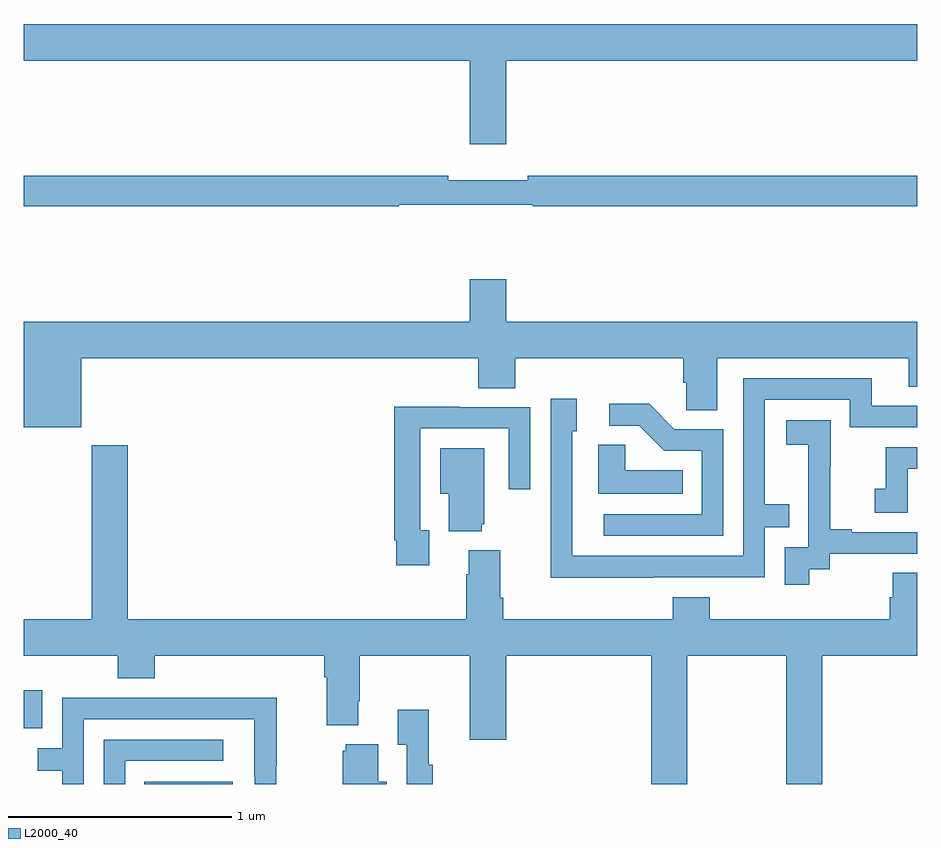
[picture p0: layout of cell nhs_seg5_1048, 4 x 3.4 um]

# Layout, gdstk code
import gdstk
lib = gdstk.Library(unit=1e-6, precision=1e-09)
def R(c, l, rs):  # rectangles x0, y0, x1, y1
    for r in rs: c.add(gdstk.rectangle(r[:2], r[2:], *l))
def P(c, l, *ps):  # polygons
    for p in ps: c.add(gdstk.Polygon(p, *l))
L2000_40 = (2000, 40)

nhs_seg5_1048 = lib.new_cell('nhs_seg5_1048')
R(nhs_seg5_1048, L2000_40, [(175.54,910.799,175.936,910.81), (175,911.049,175.083,911.218)])
P(nhs_seg5_1048, L2000_40, [(177.16,914.036),(179,914.036),(179,914.2),(175,914.2),(175,914.036),(176.996,914.036),(176.996,913.662),(177.16,913.662)],
  [(176.678,913.392),(177.278,913.392),(177.278,913.384),(179,913.384),(179,913.52),(177.256,913.52),(177.256,913.501),(176.9,913.501),(176.9,913.52),(175,913.52),(175,913.384),(176.678,913.384)],
  [(175.258,912.704),(177.035,912.704),(177.035,912.571),(177.2,912.571),(177.2,912.704),(177.953,912.704),(177.953,912.595),(177.966,912.595),(177.966,912.472),(178.105,912.472),(178.105,912.704),(178.961,912.704),(178.961,912.577),(179,912.577),(179,912.868),(177.16,912.868),(177.16,913.057),(176.996,913.057),(176.996,912.868),(175,912.868),(175,912.395),(175.258,912.395)],
  [(177.821,911.724),(178.317,911.724),(178.317,911.949),(178.427,911.949),(178.427,912.05),(178.317,912.05),(178.317,912.519),(178.698,912.519),(178.698,912.396),(179,912.396),(179,912.492),(178.795,912.492),(178.795,912.615),(178.221,912.615),(178.221,911.82),(177.456,911.82),(177.456,912.378),(177.475,912.378),(177.475,912.523),(177.36,912.523),(177.36,912.029),(177.358,912.029),(177.358,911.723),(177.821,911.723)],
  [(178.131,912.387),(177.912,912.387),(177.799,912.5),(177.621,912.5),(177.621,912.402),(177.755,912.402),(177.866,912.291),(178.035,912.291),(178.035,912.006),(177.597,912.006),(177.597,911.91),(178.131,911.91)],
  [(176.815,911.934),(176.775,911.934),(176.775,912.39),(177.171,912.39),(177.171,912.117),(177.267,912.117),(177.267,912.486),(176.951,912.486),(176.951,912.488),(176.659,912.488),(176.659,911.89),(176.667,911.89),(176.667,911.778),(176.815,911.778)],
  [(178.516,911.761),(178.608,911.761),(178.608,911.829),(179,911.829),(179,911.925),(178.705,911.925),(178.705,911.938),(178.61,911.938),(178.61,912.221),(178.611,912.221),(178.611,912.427),(178.413,912.427),(178.413,912.317),(178.511,912.317),(178.511,912.089),(178.512,912.089),(178.512,911.859),(178.407,911.859),(178.407,911.691),(178.516,911.691)],
  [(177.95,912.202),(177.693,912.202),(177.693,912.317),(177.572,912.317),(177.572,912.098),(177.95,912.098)],
  [(177.969,911.372),(178.414,911.372),(178.414,910.799),(178.574,910.799),(178.574,911.372),(179,911.372),(179,911.744),(178.889,911.744),(178.889,911.634),(178.877,911.634),(178.877,911.536),(178.07,911.536),(178.07,911.635),(177.905,911.635),(177.905,911.536),(177.146,911.536),(177.146,911.632),(177.133,911.632),(177.133,911.845),(176.993,911.845),(176.993,911.738),(176.981,911.738),(176.981,911.536),(175.466,911.536),(175.466,912.316),(175.306,912.316),(175.306,911.536),(175,911.536),(175,911.372),(175.421,911.372),(175.421,911.273),(175.586,911.273),(175.586,911.372),(176.345,911.372),(176.345,911.276),(176.357,911.276),(176.357,911.063),(176.497,911.063),(176.497,911.17),(176.505,911.17),(176.505,911.372),(176.996,911.372),(176.996,910.998),(177.16,910.998),(177.16,911.372),(177.809,911.372),(177.809,910.799),(177.969,910.799)],
  [(178.956,912.21),(179,912.21),(179,912.306),(178.858,912.306),(178.858,912.121),(178.809,912.121),(178.809,912.012),(178.956,912.012)],
  [(177.05,911.961),(177.061,911.961),(177.061,912.301),(176.864,912.301),(176.864,912.098),(176.903,912.098),(176.903,911.93),(177.05,911.93)],
  [(175.269,911.088),(176.033,911.088),(176.033,910.834),(176.034,910.834),(176.034,910.799),(176.13,910.799),(176.13,910.879),(176.133,910.879),(176.133,911.186),(175.669,911.186),(175.669,911.184),(175.173,911.184),(175.173,910.959),(175.063,910.959),(175.063,910.858),(175.173,910.858),(175.173,910.799),(175.269,910.799)],
  [(176.831,910.886),(176.813,910.886),(176.813,911.131),(176.675,911.131),(176.675,910.975),(176.715,910.975),(176.715,910.799),(176.831,910.799)],
  [(175.455,910.902),(175.894,910.902),(175.894,910.998),(175.359,910.998),(175.359,910.799),(175.455,910.799)],
  [(176.626,910.81),(176.587,910.81),(176.587,910.978),(176.441,910.978),(176.441,910.947),(176.429,910.947),(176.429,910.799),(176.626,910.799)])

lib.write_gds('nhs_seg5_1048.gds')
